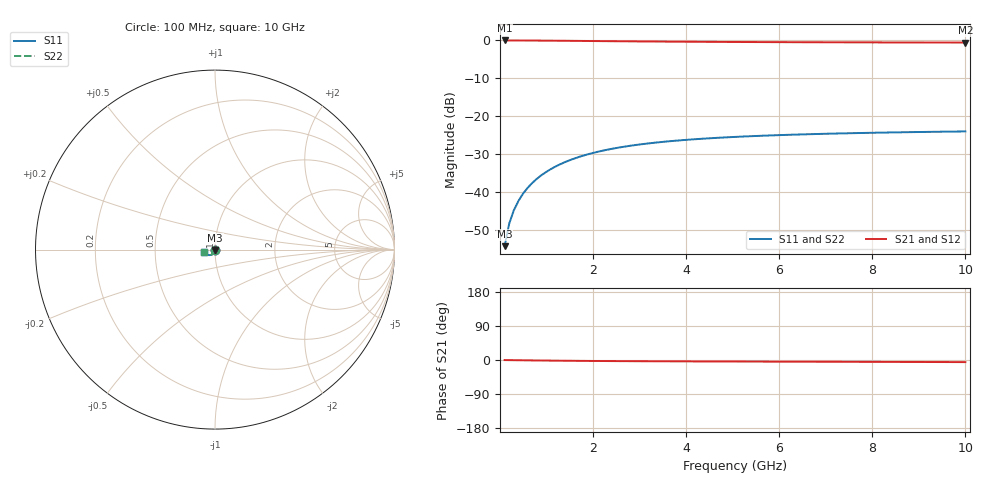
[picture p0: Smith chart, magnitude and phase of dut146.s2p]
! Touchstone file exported from HFSS 2024.1.0
!  File:  C:/UserFiles/LocalFiles/RDL_TSV_Batchsim/temp_TSV1_146_1778765723.aedt
!  Generated:  09:40:44 PM May 14, 2026
!  Design:  TSV1
!  Project:  temp_TSV1_146_1778765723
!  Setup:  Setup1
!  Solution:  Sweep
! Variables:
!  dtsv = 14.43um
!  hbump = 3um
!  htsv = 85.28um
!  lrdl = 252.1521522um
!  p = 40
!  p1 = 53.79um
!  t = 500um
!  trdl = 3um
!  wrdl = 24.89489489um
# GHz S MA R 50.000000
! Terminal data exported
! Port[1] = TSV22_T1
! Port[2] = TSV22_T2
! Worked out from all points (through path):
!   100 points, 100 MHz to 10 GHz, reference 50 ohm
!   highest |S21| = 0.00 dB at 100 MHz (marker M1); lowest = -0.6 dB at 10 GHz (marker M2)
!   lowest |S11| = -54.3 dB at 100 MHz (marker M3), VSWR 1.00, Z = 50 - j0.193 ohm
!   |S11| at or under -10 dB: start of sweep to end of sweep
!   |S22| runs from -54.3 to -24.0 dB; largest |S21 - S12| = 2e-15
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0.1  0.001932 -89.3  0.9998 -0.2  0.9998 -0.2  0.001932 -89.3
! Gamma 0 0 0 0
! Port Impedance 50 0 50 0
0.2  0.003862 -92.3  0.9996 -0.3  0.9996 -0.3  0.003862 -92.3
0.3  0.005788 -94.5  0.9993 -0.5  0.9993 -0.5  0.005788 -94.5
0.4  0.007701 -96.5  0.9989 -0.6  0.9989 -0.6  0.007701 -96.5
0.5  0.009593 -98.5  0.9983 -0.8  0.9983 -0.8  0.009593 -98.5
0.6  0.01146 -100.4  0.9977 -0.9  0.9977 -0.9  0.01146 -100.4
0.7  0.01329 -102.2  0.9969 -1.1  0.9969 -1.1  0.01329 -102.2
0.8  0.01508 -104.0  0.9961 -1.2  0.9961 -1.2  0.01508 -104.0
0.9  0.01683 -105.8  0.9952 -1.4  0.9952 -1.4  0.01683 -105.8
1.1  0.02019 -109.2  0.9932 -1.6  0.9932 -1.6  0.02019 -109.2
1.4  0.02486 -114.1  0.9898 -2.0  0.9898 -2.0  0.02486 -114.1
1.6  0.02772 -117.1  0.9873 -2.2  0.9873 -2.2  0.02772 -117.1
1.8  0.03036 -119.9  0.9849 -2.4  0.9849 -2.4  0.03036 -119.9
2.1  0.03396 -123.9  0.9812 -2.6  0.9812 -2.6  0.03396 -123.9
2.5  0.03811 -128.6  0.9764 -2.9  0.9764 -2.9  0.03811 -128.6
2.9  0.04162 -132.8  0.972 -3.1  0.972 -3.1  0.04162 -132.8
3.4  0.04527 -137.4  0.967 -3.4  0.967 -3.4  0.04527 -137.4
4.2  0.0498 -143.5  0.9604 -3.7  0.9604 -3.7  0.0498 -143.5
5.1  0.05356 -149.0  0.9545 -4.0  0.9545 -4.0  0.05356 -149.0
6.7  0.05808 -156.6  0.9469 -4.5  0.9469 -4.5  0.05808 -156.6
8.4  0.06113 -162.6  0.9417 -5.1  0.9417 -5.1  0.06113 -162.6
10  0.06307 -167.2  0.9382 -5.6  0.9382 -5.6  0.06307 -167.2
